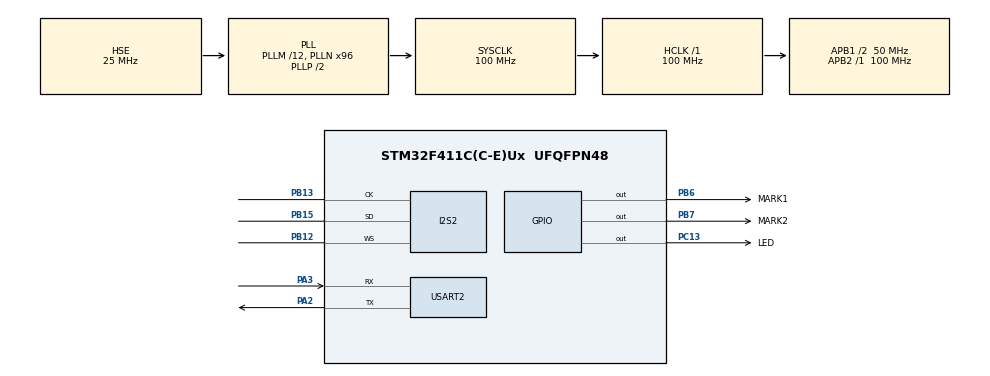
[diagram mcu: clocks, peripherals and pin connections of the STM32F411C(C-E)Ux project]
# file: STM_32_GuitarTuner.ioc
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Dma.Request0=SPI2_RX
Dma.SPI2_RX.0.Direction=DMA_PERIPH_TO_MEMORY
Dma.SPI2_RX.0.FIFOMode=DMA_FIFOMODE_DISABLE
Dma.SPI2_RX.0.Instance=DMA1_Stream3
Dma.SPI2_RX.0.MemDataAlignment=DMA_MDATAALIGN_HALFWORD
Dma.SPI2_RX.0.MemInc=DMA_MINC_ENABLE
Dma.SPI2_RX.0.Mode=DMA_CIRCULAR
Dma.SPI2_RX.0.PeriphDataAlignment=DMA_PDATAALIGN_HALFWORD
Dma.SPI2_RX.0.PeriphInc=DMA_PINC_DISABLE
Dma.SPI2_RX.0.Priority=DMA_PRIORITY_HIGH
I2S2.AudioFreq=I2S_AUDIOFREQ_32K
I2S2.DataFormat=I2S_DATAFORMAT_24B
I2S2.ErrorAudioFreq=0.0 %
I2S2.FullDuplexMode=I2S_FULLDUPLEXMODE_DISABLE
I2S2.Instance=SPI$Index
I2S2.Mode=I2S_MODE_MASTER_RX
I2S2.RealAudioFreq=32.0 KHz
I2S2.VirtualMode=I2S_MODE_MASTER
Mcu.Family=STM32F4
Mcu.Name=STM32F411C(C-E)Ux
Mcu.Package=UFQFPN48
NVIC.DMA1_Stream3_IRQn=true\:0\:0\:false\:false\:true\:false\:true\:true
NVIC.PriorityGroup=NVIC_PRIORITYGROUP_4
PA13.Mode=Serial_Wire
PA13.Signal=SYS_JTMS-SWDIO
PA14.Mode=Serial_Wire
PA14.Signal=SYS_JTCK-SWCLK
PA2.Mode=Asynchronous
PA2.Signal=USART2_TX
PA3.GPIO_PuPd=GPIO_PULLUP
PA3.Mode=Asynchronous
PA3.Signal=USART2_RX
PB12.Mode=Half_Duplex_Master
PB12.Signal=I2S2_WS
PB13.Mode=Half_Duplex_Master
PB13.Signal=I2S2_CK
PB15.GPIO_PuPd=GPIO_PULLDOWN
PB15.Mode=Half_Duplex_Master
PB15.Signal=I2S2_SD
PB6.GPIO_Label=MARK1
PB6.Signal=GPIO_Output
PB7.GPIO_Label=MARK2
PB7.Signal=GPIO_Output
PC13-ANTI_TAMP.GPIO_Label=LED
PC13-ANTI_TAMP.Signal=GPIO_Output
PH0\ -\ OSC_IN.Mode=HSE-External-Oscillator
PH0\ -\ OSC_IN.Signal=RCC_OSC_IN
PH1\ -\ OSC_OUT.Mode=HSE-External-Oscillator
PH1\ -\ OSC_OUT.Signal=RCC_OSC_OUT
ProjectManager.HeapSize=0x200
ProjectManager.StackSize=0x400
ProjectManager.TargetToolchain=CMake
RCC.48MHZClocksFreq_Value=50000000
RCC.AHBFreq_Value=100000000
RCC.APB1CLKDivider=RCC_HCLK_DIV2
RCC.APB1Freq_Value=50000000
RCC.APB1TimFreq_Value=100000000
RCC.APB2Freq_Value=100000000
RCC.APB2TimFreq_Value=100000000
RCC.CortexFreq_Value=100000000
RCC.HCLKFreq_Value=100000000
RCC.HSE_VALUE=25000000
RCC.HSI_VALUE=16000000
RCC.LSE_VALUE=32768
RCC.PLLI2SM=25
RCC.PLLI2SN=256
RCC.PLLI2SR=5
RCC.PLLM=12
RCC.PLLN=96
RCC.PLLSourceVirtual=RCC_PLLSOURCE_HSE
RCC.SYSCLKFreq_VALUE=100000000
RCC.SYSCLKSource=RCC_SYSCLKSOURCE_PLLCLK
RCC.VCOOutputFreq_Value=200000000
USART2.VirtualMode=VM_ASYNC
board=custom

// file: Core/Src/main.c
/* USER CODE BEGIN Header */
/**
  ******************************************************************************
  * @file           : main.c
  * @brief          : Main program body
  ******************************************************************************
  * @attention
  *
  * Copyright (c) 2026 STMicroelectronics.
  * All rights reserved.
  *
  * This software is licensed under terms that can be found in the LICENSE file
  * in the root directory of this software component.
  * If no LICENSE file comes with this software, it is provided AS-IS.
  *
  ******************************************************************************
  */
/* USER CODE END Header */
#include "main.h"
#include "dma.h"
#include "i2s.h"
#include "usart.h"
#include "gpio.h"

/* USER CODE BEGIN Includes */
#include <stdint.h>
#include <inttypes.h>
#include <stdio.h>
#include "mic.h"
#include "level.h"
#if TUNER_CAPTURE
#include "capture.h"
#include "replay.h"
#endif
#include "cycles.h"
#include <stddef.h>
/* USER CODE END Includes */

void SystemClock_Config(void);

int main(void)
{

  /* MCU Configuration--------------------------------------------------------*/

  /* Reset of all peripherals, Initializes the Flash interface and the Systick. */
  HAL_Init();

  /* Configure the system clock */
  SystemClock_Config();

  /* Initialize all configured peripherals */
  MX_GPIO_Init();
  MX_DMA_Init();
  MX_USART2_UART_Init();
  MX_I2S2_Init();
  /* USER CODE BEGIN 2 */

  mic_init(&hi2s2);
  level_init(mic_get_sample_rate_hz());
#if TUNER_CAPTURE
  capture_init(&huart2);
#endif

  cycles_init();
  // uint32_t start = cycles_get();
  // uint32_t end = cycles_get();
  // printf("Cycles own lag %" PRIu32 "\r\n", end - start);
  // for (size_t i= 0; i < 10; i++){
  //   start = cycles_get();
  //   HAL_GPIO_WritePin(MARK1_GPIO_Port, MARK1_Pin, GPIO_PIN_SET);
  //   HAL_Delay(10);
  //   HAL_GPIO_WritePin(MARK1_GPIO_Port, MARK1_Pin, GPIO_PIN_RESET);
  //   end = cycles_get();
  //   printf("HAL delay 10 lag %" PRIu32 "\r\n", end - start);
  // }

  HAL_StatusTypeDef mic_status = mic_start();

  if (mic_status == HAL_OK)
  {
    printf("Mic started\r\n");
  }
  else
  {
    printf("Mic start failed: %d\r\n", mic_status);
  }

  static int32_t samples[MIC_BLOCK_SAMPLES];
  static float dbfs;
#if TUNER_CAPTURE
  static bool capture_filled = false; // the capture buffer holds a recording (c) or an upload (u)
#endif

  /* USER CODE END 2 */

  /* Infinite loop */
  while (1)
  {

    /* USER CODE BEGIN 3 */
    uint8_t in[1];
    if (HAL_UART_Receive(&huart2, in, 1, 0) == HAL_OK)
    {
#if TUNER_CAPTURE
      if(in[0] == 'c'){
        printf("Capture start\r\n");
        uint32_t start = HAL_GetTick();

        bool record_result = capture_record();
        capture_filled = record_result;
        printf("Record result=%s time=%" PRIu32 "\r\n", record_result? "OK" : "FAILED", HAL_GetTick() - start);
        if (record_result)
        {
          bool send_result = capture_send();
          printf("Send result=%s\r\n", send_result? "OK" : "FAILED");
        }
      }
      else if (in[0] == 'u')
      {
        // one recording from the PC into the capture buffer (tools/replay_compare.py)
        capture_filled = capture_receive();
      }
      else if (in[0] == 'r')
      {
        // the capture buffer through the pitch module, every push timed
        if (capture_filled)
        {
          replay_run(capture_get_buffer(), capture_get_sample_count());
          mic_resync(); // main was busy for about a second: skip the halves that piled up
        }
        else
        {
          printf("REPLAY FAILED no data, send c or u first\r\n");
        }
      }

      // Discard any bytes that arrived while the board was busy.
      uint8_t discard;
      while (HAL_UART_Receive(&huart2, &discard, 1, 0) == HAL_OK)
      {
        // ignore it
      }
#endif
    }
    if (mic_read_block(samples))
    {
      if (level_process(samples, MIC_BLOCK_SAMPLES, &dbfs))
      {
        printf("dBFS=%.1f ovr=%" PRIu32 "\r\n", (double)dbfs, mic_get_overrun_count());
      }
    }
  }
  /* USER CODE END 3 */
}

void SystemClock_Config(void)
{
  RCC_OscInitTypeDef RCC_OscInitStruct = {0};
  RCC_ClkInitTypeDef RCC_ClkInitStruct = {0};

  /** Configure the main internal regulator output voltage
  */
  __HAL_RCC_PWR_CLK_ENABLE();
  __HAL_PWR_VOLTAGESCALING_CONFIG(PWR_REGULATOR_VOLTAGE_SCALE1);

  /** Initializes the RCC Oscillators according to the specified parameters
  * in the RCC_OscInitTypeDef structure.
  */
  RCC_OscInitStruct.OscillatorType = RCC_OSCILLATORTYPE_HSE;
  RCC_OscInitStruct.HSEState = RCC_HSE_ON;
  RCC_OscInitStruct.PLL.PLLState = RCC_PLL_ON;
  RCC_OscInitStruct.PLL.PLLSource = RCC_PLLSOURCE_HSE;
  RCC_OscInitStruct.PLL.PLLM = 12;
  RCC_OscInitStruct.PLL.PLLN = 96;
  RCC_OscInitStruct.PLL.PLLP = RCC_PLLP_DIV2;
  RCC_OscInitStruct.PLL.PLLQ = 4;
  if (HAL_RCC_OscConfig(&RCC_OscInitStruct) != HAL_OK)
  {
    Error_Handler();
  }

  /** Initializes the CPU, AHB and APB buses clocks
  */
  RCC_ClkInitStruct.ClockType = RCC_CLOCKTYPE_HCLK|RCC_CLOCKTYPE_SYSCLK
                              |RCC_CLOCKTYPE_PCLK1|RCC_CLOCKTYPE_PCLK2;
  RCC_ClkInitStruct.SYSCLKSource = RCC_SYSCLKSOURCE_PLLCLK;
  RCC_ClkInitStruct.AHBCLKDivider = RCC_SYSCLK_DIV1;
  RCC_ClkInitStruct.APB1CLKDivider = RCC_HCLK_DIV2;
  RCC_ClkInitStruct.APB2CLKDivider = RCC_HCLK_DIV1;

  if (HAL_RCC_ClockConfig(&RCC_ClkInitStruct, FLASH_LATENCY_3) != HAL_OK)
  {
    Error_Handler();
  }
}

void Error_Handler(void)
{
  __disable_irq();
  while (1)
  {
  }
}
